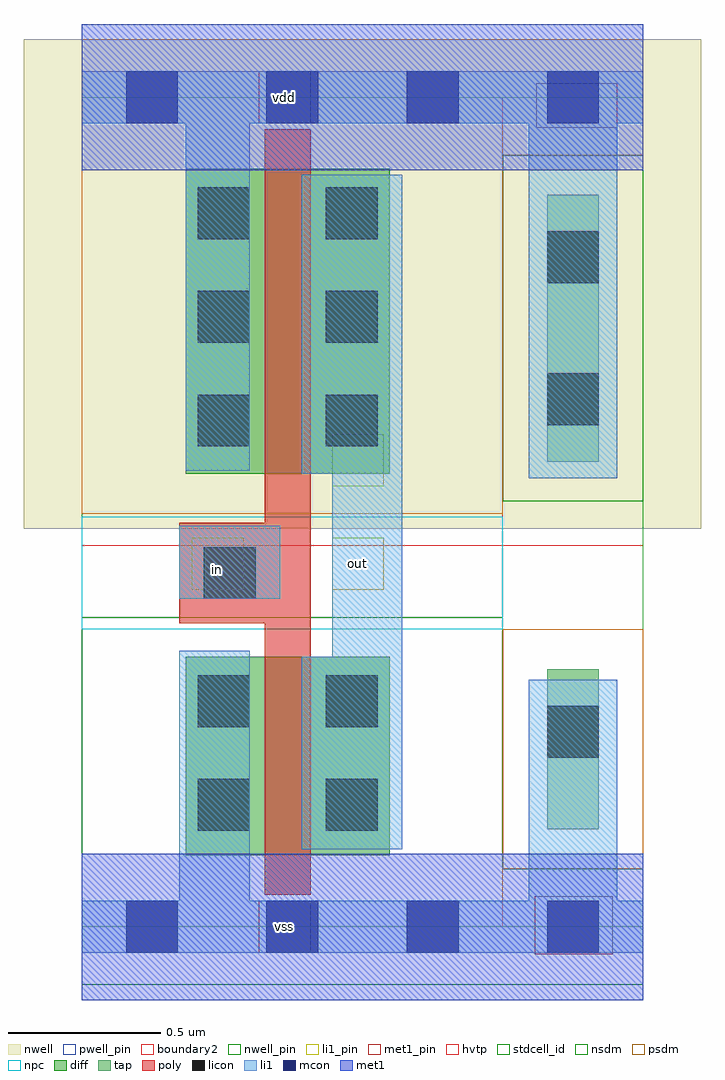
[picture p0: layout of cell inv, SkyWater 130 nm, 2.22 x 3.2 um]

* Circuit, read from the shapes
.subckt inv in out vdd vss
XM1 out in vss vss sky130_fd_pr__nfet_01v8 w=0.65 l=0.15
XM2 out in vdd vdd sky130_fd_pr__pfet_01v8_hvt w=1 l=0.15
.ends

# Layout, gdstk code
import gdstk
lib = gdstk.Library(unit=1e-6, precision=1e-09)
def R(c, l, rs):  # rectangles x0, y0, x1, y1
    for r in rs: c.add(gdstk.rectangle(r[:2], r[2:], *l))
def A(c, l, x, y, w, h, nx, ny, dx, dy):  # array of equal rectangles
    R(c, l, [(x+i*dx, y+j*dy, x+i*dx+w, y+j*dy+h) for i in range(nx) for j in range(ny)])
def P(c, l, *ps):  # polygons
    for p in ps: c.add(gdstk.Polygon(p, *l))
nwell_pin = (64, 16)
nwell = (64, 20)
diff = (65, 20)
tap = (65, 44)
poly = (66, 20)
licon = (66, 44)
li1_pin = (67, 16)
li1 = (67, 20)
mcon = (67, 44)
met1_pin = (68, 16)
met1 = (68, 20)
hvtp = (78, 44)
stdcell_id = (81, 4)
nsdm = (93, 44)
psdm = (94, 20)
npc = (95, 20)
pwell_pin = (122, 16)
boundary2 = (236, 0)

inv_1 = lib.new_cell('inv_1')
R(inv_1, nwell_pin, [(0.145,2.635,0.315,2.805), (0.145,2.635,0.315,2.805)])
R(inv_1, nwell, [(-0.19,1.305,1.57,2.91)])
R(inv_1, diff, [(0.34,0.235,1.01,0.885), (0.34,1.485,1.01,2.485)])
P(inv_1, poly, [(0.6,0.105),(0.6,0.995),(0.32,0.995),(0.32,1.325),(0.6,1.325),(0.6,2.615),(0.75,2.615),(0.75,0.105)])
A(inv_1, licon, 0.38, 1.575, 0.17, 0.17, 1, 3, 0, 0.34)
A(inv_1, licon, 0.8, 1.575, 0.17, 0.17, 1, 3, 0, 0.34)
R(inv_1, licon, [(0.38,0.315,0.55,0.485), (0.8,0.315,0.97,0.485), (0.38,0.655,0.55,0.825), (0.8,0.655,0.97,0.825), (0.4,1.075,0.57,1.245)])
R(inv_1, li1_pin, [(0.36,1.105,0.53,1.275), (0.82,1.105,0.99,1.275), (0.82,1.445,0.99,1.615)])
R(inv_1, li1, [(0,-0.085,1.38,0.085), (0.32,0.005,0.55,0.905), (0.32,1.075,0.65,1.315), (0.34,1.495,0.55,2.675), (0,2.635,1.38,2.805)])
P(inv_1, li1, [(0.72,0.255),(0.72,0.885),(0.82,0.885),(0.82,1.485),(0.72,1.485),(0.72,2.465),(1.05,2.465),(1.05,0.255)])
A(inv_1, mcon, 0.145, -0.085, 0.17, 0.17, 3, 2, 0.46, 2.72)
R(inv_1, met1_pin, [(0.145,-0.085,0.315,0.085), (0.145,-0.085,0.315,0.085), (0.145,2.635,0.315,2.805), (0.145,2.635,0.315,2.805)])
R(inv_1, hvtp, [(0,1.25,1.38,2.72)])
R(inv_1, stdcell_id, [(0,0,1.38,2.72)])
R(inv_1, nsdm, [(0,-0.19,1.38,1.015)])
R(inv_1, psdm, [(0,1.355,1.38,2.91)])
R(inv_1, npc, [(0,0.975,1.38,1.345)])
R(inv_1, pwell_pin, [(0.145,-0.085,0.315,0.085), (0.145,-0.085,0.315,0.085)])
R(inv_1, boundary2, [(0,0,1.38,2.72)])
inv_1.add(gdstk.FlexPath([(0,2.72),(1.38,2.72)], 0.48, ends="flush", simple_path=True, layer=68, datatype=20))  # met1
inv_1.add(gdstk.FlexPath([(0,0),(1.38,0)], 0.48, ends="flush", simple_path=True, layer=68, datatype=20))  # met1
inv_1.add(gdstk.Label('Y', (0.905,1.53), layer=67, texttype=5))
inv_1.add(gdstk.Label('Y', (0.905,1.19), layer=67, texttype=5))
inv_1.add(gdstk.Label('A', (0.445,1.19), layer=67, texttype=5))
inv_1.add(gdstk.Label('VGND', (0.23,0), layer=68, texttype=5))
inv_1.add(gdstk.Label('VPWR', (0.23,2.72), layer=68, texttype=5))
inv_1.add(gdstk.Label('inv', (0,0), layer=83, texttype=44))
inv_1.add(gdstk.Label('VNB', (0.23,0), layer=64, texttype=59))
inv_1.add(gdstk.Label('VPB', (0.23,2.72), layer=64, texttype=5))

tapvpwrvgnd_1 = lib.new_cell('tapvpwrvgnd_1')
R(tapvpwrvgnd_1, nwell, [(-0.19,1.305,0.65,2.91)])
R(tapvpwrvgnd_1, tap, [(0.145,0.32,0.315,0.845), (0.145,1.525,0.315,2.4)])
R(tapvpwrvgnd_1, licon, [(0.145,0.555,0.315,0.725), (0.145,1.645,0.315,1.815), (0.145,2.11,0.315,2.28)])
R(tapvpwrvgnd_1, li1, [(0,-0.085,0.46,0.085), (0.085,0,0.375,0.81), (0.085,1.47,0.375,2.72), (0,2.635,0.46,2.805)])
R(tapvpwrvgnd_1, mcon, [(0.145,-0.085,0.315,0.085), (0.145,2.635,0.315,2.805)])
R(tapvpwrvgnd_1, met1_pin, [(0.105,-0.09,0.36,0.1), (0.11,2.62,0.375,2.765)])
R(tapvpwrvgnd_1, met1, [(0,-0.24,0.46,0.24), (0,2.48,0.46,2.96)])
R(tapvpwrvgnd_1, hvtp, [(0,1.25,0.46,2.72)])
R(tapvpwrvgnd_1, stdcell_id, [(0,0,0.46,2.72)])
R(tapvpwrvgnd_1, nsdm, [(0,-0.19,0.46,0.19), (0,1.395,0.46,2.53)])
R(tapvpwrvgnd_1, psdm, [(0,0.19,0.46,0.975), (0,2.53,0.46,2.91)])
tapvpwrvgnd_1.add(gdstk.Label('VPWR', (0.23,2.72), layer=68, texttype=5))
tapvpwrvgnd_1.add(gdstk.Label('VGND', (0.23,0), layer=68, texttype=5))
tapvpwrvgnd_1.add(gdstk.Label('tapvpwrvgnd_1', (0,0), layer=83, texttype=44))

inv = lib.new_cell('inv')
R(inv, li1_pin, [(0.36,1.105,0.53,1.275), (0.82,1.105,0.99,1.275)])
R(inv, li1, [(0.36,1.105,0.53,1.275), (0.82,1.105,0.99,1.275)])
R(inv, met1_pin, [(0.58,-0.085,0.75,0.085), (0.58,2.635,0.75,2.805)])
R(inv, met1, [(0.58,-0.085,0.75,0.085), (0.58,2.635,0.75,2.805)])
inv.add(gdstk.Reference(inv_1, (0,0)))
inv.add(gdstk.Reference(tapvpwrvgnd_1, (1.38,0)))
inv.add(gdstk.Label('in', (0.445,1.17), layer=67, texttype=5))
inv.add(gdstk.Label('out', (0.905,1.19), layer=67, texttype=5))
inv.add(gdstk.Label('vdd', (0.665,2.72), layer=68, texttype=5))
inv.add(gdstk.Label('vss', (0.665,0), layer=68, texttype=5))

lib.write_gds('inv.gds')
